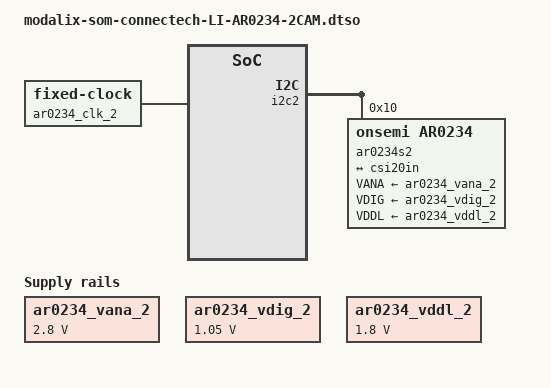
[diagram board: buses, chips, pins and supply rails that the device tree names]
// SPDX-License-Identifier: (GPL-2.0+ OR MIT)
/*
 * Copyright (c) 2026 SiMa ai
 */

/dts-v1/;
/plugin/;

#include "modalix-som-connectech-2CAM.dtsi"

&{/} {
    ar0234_vana_2: csi2_fixedregulator@0 {
        compatible = "regulator-fixed";
        regulator-name = "ar0234_vana_2";
        regulator-min-microvolt = <2800000>;
        regulator-max-microvolt = <2800000>;
        enable-active-high;
        startup-delay-us = <300000>;
        regulator-always-on;
    };

    ar0234_vdig_2: csi2_fixedregulator@1 {
        compatible = "regulator-fixed";
        regulator-name = "ar0234_vdig_2";
        regulator-min-microvolt = <1050000>;
        regulator-max-microvolt = <1050000>;
        regulator-always-on;
    };

    ar0234_vddl_2: csi2_fixedregulator@2 {
        compatible = "regulator-fixed";
        regulator-name = "ar0234_vddl_2";
        regulator-min-microvolt = <1800000>;
        regulator-max-microvolt = <1800000>;
        regulator-always-on;
    };

    ar0234_clk_2: csi2_camera-clk {
        compatible = "fixed-clock";
        #clock-cells = <0>;
        clock-frequency = <27000000>;
    };
};

&csi20in {
    clock-lanes = <0>;
    data-lanes = <1 2>;
    link-frequencies = /bits/ 64 <270000000>;
    remote-endpoint = <&cam20out>;
    clock-continuous;
};

&i2c2 {
        ar0234s2: ar0234@10 {
                compatible = "onsemi,ar0234";
                reg = <0x10>;

                clocks = <&ar0234_clk_2>;
                clock-names = "xclk";

                VANA-supply = <&ar0234_vana_2>;
                VDIG-supply = <&ar0234_vdig_2>;
                VDDL-supply = <&ar0234_vddl_2>;

                port@1 {
                        cam20out: endpoint@0 {
                                clock-lanes = <0>;
                                data-lanes = <1 2>;
                                link-frequencies = /bits/ 64 <270000000>;
                                remote-endpoint = <&csi20in>;
                                clock-continuous;
                        };
                };
        };
};
